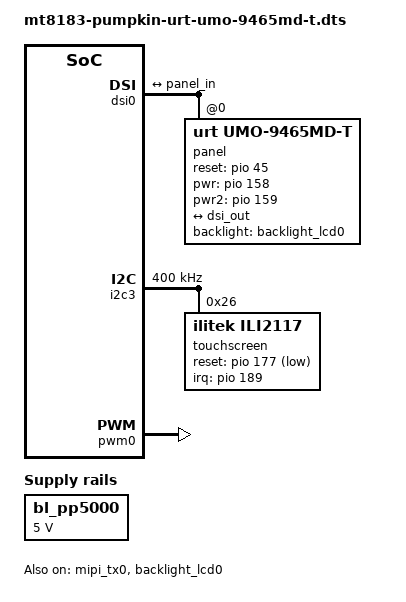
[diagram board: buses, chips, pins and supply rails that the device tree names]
/dts-v1/;
/plugin/;

#include "mt8183-pinfunc.h"
#include "dt-bindings/interrupt-controller/irq.h"
#include <dt-bindings/gpio/gpio.h>

&reserved_memory {
	#address-cells = <2>;
	#size-cells = <2>;
	ramoops@0x4FF00000 {
		compatible = "ramoops";
		reg = <0x0 0x4FF00000 0x0 0x00100000>;
		record-size = <0x00008000>;
		console-size = <0x00008000>;
		ftrace-size = <0x00000000>;
		pmsg-size = <0x00008000>;
	};
};

&dsi0 {
	status = "okay";
	#address-cells = <1>;
	#size-cells = <0>;

	panel: panel@0 {
		compatible = "urt,umo-9465md-t";
		reg = <0>;
		pinctrl-names = "default";
		pinctrl-0 = <&panel_pins_default>;
		backlight = <&backlight_lcd0>;
		reset-gpios = <&pio 45 0>;
		pwr-gpios = <&pio 158 0>;
		pwr2-gpios = <&pio 159 0>;
		status = "okay";

		port {
			panel_in: endpoint {
				remote-endpoint = <&dsi_out>;
			};
		};
	};

	ports {
		port {
			dsi_out: endpoint {
				remote-endpoint = <&panel_in>;
			};
		};
	};
};

&mipi_tx0 {
	status = "okay";
};

&backlight_lcd0 {
	compatible = "pwm-backlight";
	pwms = <&pwm0 0 20000>;
	power-supply = <&bl_pp5000>;
	brightness-levels = <0 1023>;
	num-interpolated-steps = <1023>;
	default-brightness-level = <576>;
	status = "okay";
};

&bl_pp5000 {
	compatible = "regulator-fixed";
	regulator-name = "bl_pp5000";
	regulator-min-microvolt = <5000000>;
	regulator-max-microvolt = <5000000>;
	regulator-always-on;
	regulator-boot-on;
};

&i2c3 {
	#address-cells = <1>;
	#size-cells = <0>;
	clock-frequency = <400000>;

	touchscreen@26 {
		compatible = "ilitek,ili2117";
		reg = <0x26>;
		pinctrl-names = "default";
		pinctrl-0 = <&ctp_pins_default>;
		wakeup-source;
		interrupt-parent = <&pio>;
		interrupts = <189 IRQ_TYPE_EDGE_FALLING>;
		reset-gpios = <&pio 177 GPIO_ACTIVE_LOW>;
	};
};

&pwm0 {
	status = "okay";
	pinctrl-names = "default";
	pinctrl-0 = <&pwm0_pin_default>;
};

&pio {
	panel_pins_default: panel_pins_default {
		panel_reset {
			pinmux = <PINMUX_GPIO45__FUNC_GPIO45>;
			output-low;
			bias-pull-up;
		};
	};

	ctp_pins_default: ctp_pins_default {
		pins_eint_ctp {
			pinmux = <PINMUX_GPIO176__FUNC_GPIO176>;
			input-enable;
			bias-disable;
		};

		pins_rst_ctp {
			pinmux = <PINMUX_GPIO177__FUNC_GPIO177>;
			output-low;
		};
	};

	pwm0_pin_default: pwm0_pin_default {
		disp_pwm {
			pinmux = <PINMUX_GPIO43__FUNC_DISP_PWM>;
		};
	};
};

